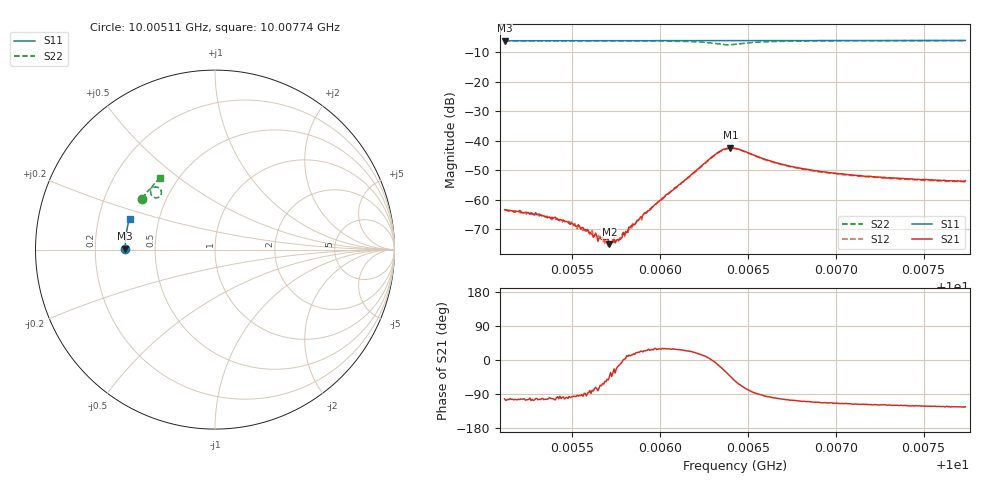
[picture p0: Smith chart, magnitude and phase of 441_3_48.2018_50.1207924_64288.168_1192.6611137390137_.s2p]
#  HZ  S  RI  R  50.00
! Rohde & Schwarz Vector Network Analyzer
! Rohde-Schwarz,ZNB20-2Port,1311601062101988,3.16
! Created: UTC 3/20/2024, 11:55:51 AM
! freq[Hz]  re:S11  im:S11  re:S21  im:S21  re:S12  im:S12  re:S22  im:S22
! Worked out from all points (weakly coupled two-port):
!   401 points, 10.00511 GHz to 10.00774 GHz, reference 50 ohm
!   highest |S21| = -42.32 dB at 10.0064 GHz (marker M1); lowest = -75.1 dB at 10.00571 GHz (marker M2)
!   lowest |S11| = -6.0 dB at 10.00511 GHz (marker M3), VSWR 3.00, Z = 16.7 + j0.209 ohm
!   |S11| at or under -10 dB: nowhere
!   |S22| runs from -7.4 to -6.0 dB; largest |S21 - S12| = 0.00046
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1.0005114e10  -0.5002 0.0047  -0.00015 -0.000668  -0.000123 -0.000677  -0.4052 0.2841
1.0005403e10  -0.5003 0.0235  -0.000134 -0.000494  -7.15e-05 -0.000468  -0.3938 0.3011
1.0005488e10  -0.5001 0.029  -5.9e-05 -0.000382  -1.13e-05 -0.000406  -0.3902 0.3064
1.0005554e10  -0.5001 0.0332  -7.57e-06 -0.00034  -1.44e-05 -0.000324  -0.3871 0.3101
1.0005613e10  -0.4999 0.0371  4.73e-05 -0.00026  8.38e-05 -0.00029  -0.3844 0.3138
1.0005646e10  -0.4998 0.0393  3e-05 -0.000197  0.000118 -0.00024  -0.3828 0.3158
1.0005691e10  -0.4996 0.0422  0.000117 -0.000183  0.000108 -0.00018  -0.3804 0.3187
1.0005711e10  -0.4996 0.0433  0.000126 -0.000123  0.000131 -0.000143  -0.3792 0.3199
1.0005724e10  -0.4995 0.0442  0.000139 -0.00013  0.000166 -0.000106  -0.3786 0.3207
1.0005751e10  -0.4994 0.0461  0.000189 -7.93e-05  0.000186 -5.9e-05  -0.3772 0.3223
1.000577e10  -0.4993 0.0472  0.00021 -4.67e-05  0.000227 -2.85e-05  -0.3759 0.3236
1.0005836e10  -0.499 0.0517  0.000359 8.26e-05  0.000302 9.14e-05  -0.3722 0.3278
1.0005914e10  -0.4986 0.0567  0.00055 0.000243  0.000543 0.000283  -0.3666 0.3329
1.0005993e10  -0.4982 0.0617  0.000824 0.000471  0.000815 0.000479  -0.3603 0.3381
1.0006315e10  -0.4953 0.0825  0.00588 -0.000695  0.00583 -0.000437  -0.3016 0.3315
1.0006361e10  -0.4948 0.0851  0.00654 -0.00311  0.00648 -0.00274  -0.2995 0.3097
1.00064e10  -0.4945 0.0874  0.00552 -0.0053  0.00568 -0.00488  -0.3118 0.2931
1.0006426e10  -0.4943 0.089  0.00426 -0.00619  0.00453 -0.00582  -0.3241 0.2885
1.0006669e10  -0.4923 0.1045  -0.000818 -0.00414  -0.00061 -0.00405  -0.3579 0.3308
1.0006866e10  -0.49 0.117  -0.00112 -0.00297  -0.00098 -0.00298  -0.3492 0.3513
1.0007305e10  -0.4835 0.1447  -0.00114 -0.00208  -0.00103 -0.00208  -0.3267 0.3791
1.0007738e10  -0.4755 0.1714  -0.00117 -0.00177  -0.00104 -0.00173  -0.3046 0.4001
